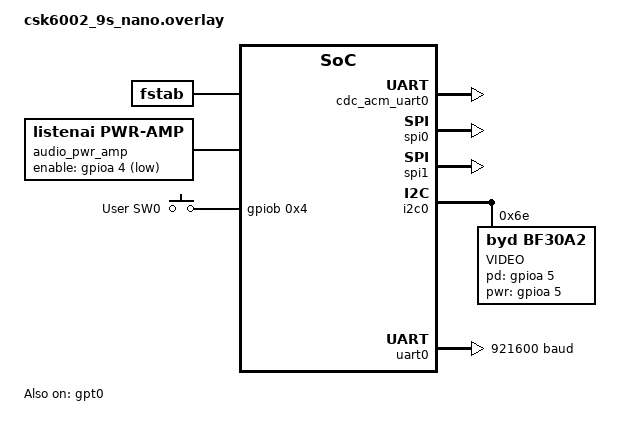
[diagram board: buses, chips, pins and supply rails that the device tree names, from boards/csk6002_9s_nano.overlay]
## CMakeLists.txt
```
# SPDX-License-Identifier: Apache-2.0

cmake_minimum_required(VERSION 3.20.0)
find_package(Zephyr REQUIRED HINTS $ENV{ZEPHYR_BASE})
project(cdc_acm)

target_sources(app PRIVATE src/main.c)
target_sources(app PRIVATE ${app_sources})
```

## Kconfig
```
# Copyright (c) 2019 Nordic Semiconductor ASA
# SPDX-License-Identifier: Apache-2.0

DT_CHOSEN_Z_PSRAM_AP := zephyr,psramap

config USB_DEVICE_PID
	default USB_PID_CDC_ACM_SAMPLE

config LISA_HEAP_ARENA_SIZE
	int "Size of the lisa mem malloc arena"
	default 0
	help
	  Indicate the size in bytes of the memory arena used for
	  lisa_mem's malloc() implementation.

config PSRAMAP_BASE_ADDRESS
	hex 
	default "$(dt_chosen_reg_addr_hex,$(DT_CHOSEN_Z_PSRAM_AP))"

config PSRAMAP_SIZE
	hex
	default "$(dt_chosen_reg_size_hex,$(DT_CHOSEN_Z_PSRAM_AP))"

config PSRAMAP_NOCACHE
	bool "disable psramap section cache attri"
	default n

source "Kconfig.zephyr"
```

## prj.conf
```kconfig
CONFIG_STDOUT_CONSOLE=y
CONFIG_USB_DEVICE_STACK=y
CONFIG_USB_DEVICE_PRODUCT="Zephyr CDC ACM sample"
CONFIG_LOG=y
# CONFIG_LOG_MODE_IMMEDIATE=y
CONFIG_USB_DRIVER_LOG_LEVEL_ERR=y
CONFIG_USB_DEVICE_LOG_LEVEL_ERR=y
CONFIG_SERIAL=y
# CONFIG_UART_INTERRUPT_DRIVEN=y
# CONFIG_UART_LINE_CTRL=y
# CONFIG_USB_CDC_ACM=y
# CONFIG_USB_CDC_ACM_RINGBUF_SIZE=4096
# CONFIG_USB_CDC_ACM_LOG_LEVEL_ERR=y
CONFIG_HEAP_MEM_POOL_SIZE=20000

#psram init 
CONFIG_CSK6_PSRAM=y
CONFIG_NEWLIB_LIBC=y
CONFIG_TEST_RANDOM_GENERATOR=y


# CONFIG_LISA_HEAP_ARENA_SIZE=80000
CONFIG_LISA_HEAP_ARENA_SIZE=80000


# # video
# CONFIG_SPI=y
# CONFIG_I2C=y
# CONFIG_DMA=y
# CONFIG_PWM=y
# CONFIG_VIDEO=y
# CONFIG_VIDEO_BF30A2=y
# # frame datas will be output to sharemem.
# CONFIG_BF30A2_UNUSED_DEQUEUE=y
# # CONFIG_BF30A2_DECODE_TEST=y
# CONFIG_VIDEO_BUFFER_POOL_SZ_MAX=25600
# CONFIG_SYS_CLOCK_TICKS_PER_SEC=1000
# CONFIG_SCHED_MULTIQ=y
# CONFIG_ZERO_LATENCY_IRQS=y

CONFIG_SHELL_ARGC_MAX=16
CONFIG_SHELL=y
CONFIG_INIT_STACKS=y

CONFIG_ASSERT=y
CONFIG_ASSERT_LEVEL=2
CONFIG_SPIN_VALIDATE=y
CONFIG_GPIO=y

CONFIG_ZERO_LATENCY_IRQS=y
CONFIG_SPIN_VALIDATE=y
CONFIG_DYNAMIC_INTERRUPTS=y
CONFIG_PSRAMAP_NOCACHE=n
```

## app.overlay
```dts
/*
 * Copyright (c) 2021 Nordic Semiconductor ASA
 *
 * SPDX-License-Identifier: Apache-2.0
 */

&zephyr_udc0 {
	cdc_acm_uart0 {
		compatible = "zephyr,cdc-acm-uart";
		label = "CDC_ACM_0";
	};
};

&uart0 {
	current-speed = <921600>;
	status = "okay";
};
```

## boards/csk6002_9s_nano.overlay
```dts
/*
 * Copyright (c) 2021 listenai Intelligent Technology (anhui) Co., Ltd.
 *
 * SPDX-License-Identifier: Apache-2.0
 */
 /delete-node/ &storage_partition;

 / {
	 chosen {
		 /*
		  * shared memory reserved for the inter-processor communication
		  */
		 zephyr,ipc_shm = &psram_share;
		 zephyr,ipc = &mailbox0;
		 zephyr,flash_sysfs_storage = &filesystem_part;
		 zephyr,flash_controller = &flash;
		 zephyr,uart-mcumgr = &uart0;
		 zephyr,psramap = &psram_ap;
	 };
 
	 aliases {
		 avf-audio-pwr-amp = &pwr_amp;
	 };
 
	 fstab {
		 compatible = "zephyr,fstab";
		 lfs1: lfs1 {
			 compatible = "zephyr,fstab,littlefs";
			 mount-point = "/lfs1";
			 partition = <&filesystem_part>;
			 automount ;
			 no-format;
			 read-size = <16>;
			 prog-size = <16>;
			 cache-size = <64>;
			 lookahead-size = <32>;
			 block-cycles = <512>;
		 };
	 };
 
	 pwr_amp:audio_pwr_amp{
		 compatible = "listenai,pwr-amp";
		 enable-gpios = <&gpioa 4 1>;
		 label = "audio_pwr_amp";	
		 status = "okay";
	 };
 
 };
 
  
 &flash0 {
	 partitions {
		 compatible = "fixed-partitions";
		 #address-cells = <1>;
		 #size-cells = <1>;
		 filesystem_part: partition@160000 {
			 label = "filesystem";
			 reg = <0x160000 0x00300000>;
		 };
		 /*
		  * Reserve the final 640 KiB for file system partition
		  */
		 storage_partition: partition@460000 {
			 label = "storage";
			 reg = <0x460000 0x03a0000>;
		 };
 
 
	 };
 };
 
 &zephyr_udc0 {
	 cdc_acm_uart0 {
		 compatible = "zephyr,cdc-acm-uart";
		 label = "CDC_ACM_0";
	 };
 };
 
 &gpt0 {
	 status = "okay";
	 pwm5: pwm5 {
		 status = "disabled";
	 };
 
	 pwm4: pwm4 {
		 status = "disabled";
	 };
 
	 pwm6: pwm6 {
		 status = "disabled";
	 };	
 };
 
 &spi0 {
	 status = "okay";
	 spi-max-frequency = <25000000>;
 };
 
 
&spi1 {
    status = "okay";
    spi-max-frequency = <100000000>;
    pinctrl-0 = <&pinctrl_spi1_sclk_default &pinctrl_spi1_mosi_default &pinctrl_spi1_cs_default>; 
	pinctrl-names = "default";
};

&csk6002_9s_nano_pinctrl{
                 pinctrl_i2c0_scl_default: i2c0_scl_default{
                         pinctrls = <&pinmuxb 2 8>;
                 };
                 
                 pinctrl_i2c0_sda_default: i2c0_sda_default{
                         pinctrls = <&pinmuxb 3 8>;
                 };

                pinctrl_spi1_sclk_default: spi1_sclk_default {
                    pinctrls = < &pinmuxb 0 7 >;
                };

                pinctrl_spi1_mosi_default: spi1_mosi_default {
                    pinctrls = < &pinmuxb 1 7 >;
                };

                pinctrl_spi1_cs_default: spi1_cs_default {
                    pinctrls = < &pinmuxa 9 7 >;
                };

};

&i2c0 {
        status = "okay";
        pinctrl-0 = <&pinctrl_i2c0_scl_default &pinctrl_i2c0_sda_default>; 
        pinctrl-names = "default";

        bf30a2: bf30a2@6e {
            compatible = "byd,bf30a2";
            status = "okay";
            label = "VIDEO";
            reg = <0x6e>;
            pd-gpios = <&gpioa 5 0>;
            pwr-gpios = <&gpioa 5 0>;
            product-id = <0x3b02>;
            spi = <&spi1>;
        };
};

&uart0 {
    current-speed = <921600>;
};


&user_button_0 {
	label = "User SW0";
	gpios = < &gpiob 0x4 0x0 >;
};
```

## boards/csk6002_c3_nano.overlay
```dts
/*
 * Copyright (c) 2021 listenai Intelligent Technology (anhui) Co., Ltd.
 *
 * SPDX-License-Identifier: Apache-2.0
 */
/delete-node/ &storage_partition;

/ {
	chosen {
		/*
		 * shared memory reserved for the inter-processor communication
		 */
		zephyr,ipc_shm = &psram_share;
		zephyr,ipc = &mailbox0;
		zephyr,flash_sysfs_storage = &filesystem_part;
		zephyr,flash_controller = &flash;
		zephyr,uart-mcumgr = &uart0;
		zephyr,psramap = &psram_ap;
	};

	aliases {
		avf-audio-pwr-amp = &pwr_amp;
	};

	fstab {
		compatible = "zephyr,fstab";
		lfs1: lfs1 {
			compatible = "zephyr,fstab,littlefs";
			mount-point = "/lfs1";
			partition = <&filesystem_part>;
			automount ;
			no-format;
			read-size = <16>;
			prog-size = <16>;
			cache-size = <64>;
			lookahead-size = <32>;
			block-cycles = <512>;
		};
	};

	pwr_amp:audio_pwr_amp{
		compatible = "listenai,pwr-amp";
		enalbe-gpios = <&gpioa 4 1>;
		label = "audio_pwr_amp";	
		status = "okay";
	};

};

 
&flash0 {
	partitions {
		compatible = "fixed-partitions";
		#address-cells = <1>;
		#size-cells = <1>;
		filesystem_part: partition@160000 {
			label = "filesystem";
			reg = <0x160000 0x00300000>;
		};
		/*
		 * Reserve the final 640 KiB for file system partition
		 */
		storage_partition: partition@460000 {
			label = "storage";
			reg = <0x460000 0x03a0000>;
		};


	};
};

&zephyr_udc0 {
	cdc_acm_uart0 {
		compatible = "zephyr,cdc-acm-uart";
		label = "CDC_ACM_0";
	};
};

&gpt0 {
	status = "okay";
    pwm5: pwm5 {
        status = "disabled";
    };

	pwm4: pwm4 {
		status = "disabled";
    };

	pwm6: pwm6 {
        status = "disabled";
    };	
};

&spi0 {
    status = "okay";
    spi-max-frequency = <25000000>;
};


&spi1 {
    status = "okay";
    spi-max-frequency = <100000000>;
    pinctrl-0 = <&pinctrl_spi1_sclk_default &pinctrl_spi1_mosi_default &pinctrl_spi1_cs_default>; 
	pinctrl-names = "default";
};

&csk6002_c3_nano_pinctrl{
                 pinctrl_i2c0_scl_default: i2c0_scl_default{
                         pinctrls = <&pinmuxb 2 8>;
                 };
                 
                 pinctrl_i2c0_sda_default: i2c0_sda_default{
                         pinctrls = <&pinmuxb 3 8>;
                 };

                pinctrl_spi1_sclk_default: spi1_sclk_default {
                    pinctrls = < &pinmuxb 0 7 >;
                };

                pinctrl_spi1_mosi_default: spi1_mosi_default {
                    pinctrls = < &pinmuxb 1 7 >;
                };

                pinctrl_spi1_cs_default: spi1_cs_default {
                    pinctrls = < &pinmuxa 9 7 >;
                };

};

&i2c0 {
        status = "okay";
        pinctrl-0 = <&pinctrl_i2c0_scl_default &pinctrl_i2c0_sda_default>; 
        pinctrl-names = "default";

        bf30a2: bf30a2@6e {
            compatible = "byd,bf30a2";
            status = "okay";
            label = "VIDEO";
            reg = <0x6e>;
            pd-gpios = <&gpioa 5 0>;
            pwr-gpios = <&gpioa 5 0>;
            product-id = <0x3b02>;
            spi = <&spi1>;
        };
};

&uart0 {
	current-speed = <921600>;
	status = "okay";
};
```

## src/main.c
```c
/*
 * Copyright (c) 2019 Intel Corporation
 *
 * SPDX-License-Identifier: Apache-2.0
 */

/**
 * @file
 * @brief Sample echo app for CDC ACM class
 *
 * Sample app for USB CDC ACM class driver. The received data is echoed back
 * to the serial port.
 */

#include <stdio.h>
#include <string.h>
#include <device.h>
#include <drivers/uart.h>
#include <zephyr.h>
#include <device.h>
#include <devicetree.h>
#include <drivers/gpio.h>
#include <hal/venus_ap.h>
#include "hal/gpio.h"
#include "hal/Driver_GPIO.h"
#include <hal/IOMuxManager.h>


#define SW0_NODE	DT_ALIAS(sw0)
#if !DT_NODE_HAS_STATUS(SW0_NODE, okay)
#error "Unsupported board: sw0 devicetree alias is not defined"
#endif
static const struct gpio_dt_spec button = GPIO_DT_SPEC_GET_OR(SW0_NODE, gpios,
							      {0});
static struct gpio_callback button_cb_data;


/* The devicetree node identifier for the "led0" alias. */
#define LED0_NODE DT_ALIAS(led0)

#if DT_NODE_HAS_STATUS(LED0_NODE, okay)
#define LED0	DT_GPIO_LABEL(LED0_NODE, gpios)
#define PIN	DT_GPIO_PIN(LED0_NODE, gpios)
#define FLAGS	DT_GPIO_FLAGS(LED0_NODE, gpios)
#else
/* A build error here means your board isn't set up to blink an LED. */
#error "Unsupported board: led0 devicetree alias is not defined"
#define LED0	""
#define PIN	0
#define FLAGS	0
#endif

static void output_init(void)
{
	const struct device *dev;
	bool led_is_on = true;
	int ret;

	dev = device_get_binding(LED0);
	if (dev == NULL) {
		return;
	}

	ret = gpio_pin_configure(dev, PIN, GPIO_OUTPUT_ACTIVE | FLAGS);
	if (ret < 0) {
		return;
	}
}

/*中断回调函数*/
__attribute__ ((section (".itcm"))) int csk_gpio_isr(void)
{

    uint32_t int_status;
	(*((GPIO_RegDef*)0x45900000)).REG_DATAOUT.all |= 1<<5;
    GPIO_RegDef *gpio_reg = (GPIO_RESOURCES *)0x45A00000;
    int_status = gpio_reg->REG_INTRSTATUS.all;
    // clear gpio interrupt status
    gpio_reg->REG_INTRSTATUS.all = int_status;
	(*((GPIO_RegDef*)0x45900000)).REG_DATAOUT.all &= ~(1<<5);
    return 0;
}



static void input_init(void){
	int ret;

	if (!device_is_ready(button.port)) {
		printk( "Error: button device %s is not ready\n", button.port->name);
		return;
	}

	ret = gpio_pin_configure_dt(&button, GPIO_INPUT);
	if (ret != 0) {
		printk( "Error %d: failed to configure %s pin %d\n", ret, button.port->name,
				button.pin);
		return;
	}

	ret = gpio_pin_interrupt_configure_dt(&button, GPIO_INT_EDGE_FALLING );
	if (ret != 0) {
		printk( "Error %d: failed to configure interrupt on %s pin %d\n", ret,
				button.port->name, button.pin);
		return;
	}

	// gpio_init_callback(&button_cb_data, button_pressed, BIT(button.pin));
	// gpio_add_callback(button.port, &button_cb_data);
	printk("Set up button at %s pin %d\n", button.port->name, button.pin);


	printk(" button init success\n");
}

void gpio_init(void){
	output_init();//初始化输出的GPIO引脚 GPIOA5
	input_init();//初始化输入的中断触发引脚 GPIOB4
}



#define ARRAY_INDEX_MAX   (20)
/*数据存粹在PSRAM中，并且开启cache*/
Z_GENERIC_SECTION(.psram_section) static char psram_buffer[ARRAY_INDEX_MAX][32*1024];
Z_GENERIC_SECTION(.psram_section) static uint32_t ui32_psram_counter;
void main(void)
{
	ui32_psram_counter = 0;
	printk("start...\n");
	gpio_init();


	while(1){
		psram_buffer[ui32_psram_counter][0] += ui32_psram_counter;
		ui32_psram_counter++;
		if(ui32_psram_counter >= ARRAY_INDEX_MAX){
			ui32_psram_counter = 0;
		}
	}
}
```
